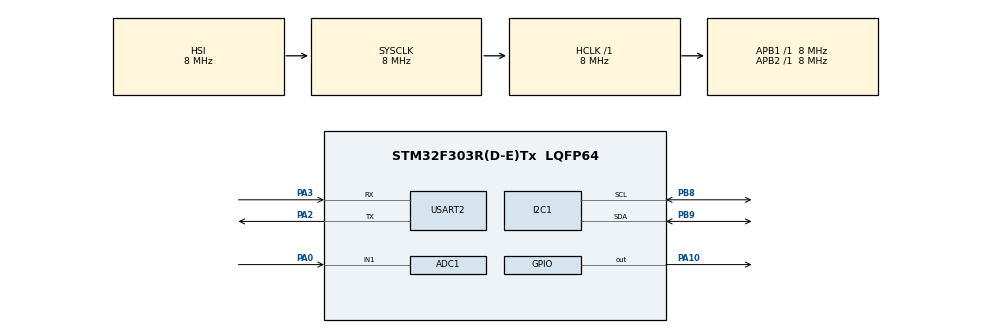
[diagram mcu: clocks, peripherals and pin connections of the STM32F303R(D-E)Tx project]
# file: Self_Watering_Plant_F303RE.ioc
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ADC1.Channel-0\#ChannelRegularConversion=ADC_CHANNEL_1
ADC1.NbrOfConversionFlag=1
ADC1.Offset-0\#ChannelRegularConversion=0
ADC1.OffsetNumber-0\#ChannelRegularConversion=ADC_OFFSET_NONE
ADC1.Rank-0\#ChannelRegularConversion=1
ADC1.SamplingTime-0\#ChannelRegularConversion=ADC_SAMPLETIME_1CYCLE_5
ADC1.SamplingTimeOPAMP-0\#ChannelRegularConversion=ADC_SAMPLETIME_7CYCLES_5
ADC1.master=1
Mcu.Family=STM32F3
Mcu.Name=STM32F303R(D-E)Tx
Mcu.Package=LQFP64
NVIC.PriorityGroup=NVIC_PRIORITYGROUP_4
PA0.Mode=IN1-Single-Ended
PA0.Signal=ADC1_IN1
PA10.Signal=GPIO_Output
PA2.Mode=Asynchronous
PA2.Signal=USART2_TX
PA3.Mode=Asynchronous
PA3.Signal=USART2_RX
PB8.Mode=I2C
PB8.Signal=I2C1_SCL
PB9.Mode=I2C
PB9.Signal=I2C1_SDA
ProjectManager.HeapSize=0x200
ProjectManager.StackSize=0x400
ProjectManager.TargetToolchain=STM32CubeIDE
RCC.AHBFreq_Value=8000000
RCC.APB1Freq_Value=8000000
RCC.APB2Freq_Value=8000000
RCC.CortexFreq_Value=8000000
RCC.HSE_VALUE=8000000
RCC.HSI_VALUE=8000000
RCC.LSE_VALUE=32768
RCC.SYSCLKFreq_VALUE=8000000
RCC.USBFreq_Value=16000000
USART2.VirtualMode-Asynchronous=VM_ASYNC
board=custom

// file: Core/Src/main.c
/* USER CODE BEGIN Header */
/**
  ******************************************************************************
  * @file           : main.c
  * @brief          : Main program body
  ******************************************************************************
  * @attention
  *
  * <h2><center>&copy; Copyright (c) 2020 STMicroelectronics.
  * All rights reserved.</center></h2>
  *
  * This software component is licensed by ST under BSD 3-Clause license,
  * the "License"; You may not use this file except in compliance with the
  * License. You may obtain a copy of the License at:
  *                        opensource.org/licenses/BSD-3-Clause
  *
  ******************************************************************************
  */
/* USER CODE END Header */
#include "main.h"

/* USER CODE BEGIN Includes */
#include <string.h>
#include <stdio.h>
#include <stdbool.h>
/* USER CODE END Includes */

ADC_HandleTypeDef hadc1;

I2C_HandleTypeDef hi2c1;

UART_HandleTypeDef huart2;

/* USER CODE BEGIN PV */
static const uint8_t TMP102_ADDR = 0x48 << 1;
static const uint8_t REG_TEMP = 0x00;
/* USER CODE END PV */

void SystemClock_Config(void);
static void MX_GPIO_Init(void);
static void MX_ADC1_Init(void);
static void MX_I2C1_Init(void);
static void MX_USART2_UART_Init(void);

int main(void)
{
  /* USER CODE BEGIN 1 */
	HAL_StatusTypeDef ret;
	uint8_t buf[12];
	int16_t val;
	float temp_c;
	uint16_t raw;
	char msg[10];
	bool watering = false;
	const int minDrynessVal = 200;
	const int maxDrynessVal = 700;

  /* USER CODE END 1 */

  /* MCU Configuration--------------------------------------------------------*/

  /* Reset of all peripherals, Initializes the Flash interface and the Systick. */
  HAL_Init();

  /* Configure the system clock */
  SystemClock_Config();

  /* Initialize all configured peripherals */
  MX_GPIO_Init();
  MX_ADC1_Init();
  MX_I2C1_Init();
  MX_USART2_UART_Init();

  /* Infinite loop */
  /* USER CODE BEGIN WHILE */
  while (1)
  {
	  buf[0] = REG_TEMP;
	  ret = HAL_I2C_Master_Transmit(&hi2c1, TMP102_ADDR, buf, 1, HAL_MAX_DELAY);
	  if ( ret != HAL_OK ) {
	       strcpy((char*)buf, "Error Tx\r\n");
	     } else {

	       // Read 2 bytes from the temperature register
	       ret = HAL_I2C_Master_Receive(&hi2c1, TMP102_ADDR, buf, 2, HAL_MAX_DELAY);
	       if ( ret != HAL_OK ) {
	         strcpy((char*)buf, "Error Rx\r\n");
	       } else {

	         //Combine the bytes
	         val = ((int16_t)buf[0] << 4) | (buf[1] >> 4);

	         // Convert to 2's complement, since temperature can be negative
	         if ( val > 0x7FF ) {
	           val |= 0xF000;
	         }

	         // Convert to float temperature value (Celsius)
	         temp_c = val * 0.0625;

	         // Convert temperature to decimal format
	         temp_c *= 100;
	         sprintf((char*)buf,
	               "%u.%u C\r\n",
	               ((unsigned int)temp_c / 100),
	               ((unsigned int)temp_c % 100));
	       }
	     }

	     // Send out buffer (temperature or error message)
	     HAL_UART_Transmit(&huart2, buf, strlen((char*)buf), HAL_MAX_DELAY);

	     //Get ADC Value
	     HAL_ADC_Start(&hadc1);
	     HAL_ADC_PollForConversion(&hadc1, HAL_MAX_DELAY);
	     raw = HAL_ADC_GetValue(&hadc1);

	     //Convert to string and print
	     sprintf(msg, "%hu\r\n", raw);
	     HAL_UART_Transmit(&huart2, (uint8_t*)msg, strlen(msg), HAL_MAX_DELAY);

	     if(!watering || raw < minDrynessVal) { //needs watering
	    	 HAL_GPIO_WritePin(GPIOA, GPIO_PIN_10, GPIO_PIN_SET);
	     }
	     else if(watering || raw > maxDrynessVal) { //done watering
	    	 HAL_GPIO_WritePin(GPIOA, GPIO_PIN_10, GPIO_PIN_RESET);
	     }

	     HAL_Delay(1000);

    /* USER CODE END WHILE */

  }
}

void SystemClock_Config(void)
{
  RCC_OscInitTypeDef RCC_OscInitStruct = {0};
  RCC_ClkInitTypeDef RCC_ClkInitStruct = {0};
  RCC_PeriphCLKInitTypeDef PeriphClkInit = {0};

  /** Initializes the RCC Oscillators according to the specified parameters
  * in the RCC_OscInitTypeDef structure.
  */
  RCC_OscInitStruct.OscillatorType = RCC_OSCILLATORTYPE_HSI;
  RCC_OscInitStruct.HSIState = RCC_HSI_ON;
  RCC_OscInitStruct.HSICalibrationValue = RCC_HSICALIBRATION_DEFAULT;
  RCC_OscInitStruct.PLL.PLLState = RCC_PLL_ON;
  RCC_OscInitStruct.PLL.PLLSource = RCC_PLLSOURCE_HSI;
  RCC_OscInitStruct.PLL.PLLMUL = RCC_PLL_MUL2;
  RCC_OscInitStruct.PLL.PREDIV = RCC_PREDIV_DIV1;
  if (HAL_RCC_OscConfig(&RCC_OscInitStruct) != HAL_OK)
  {
    Error_Handler();
  }
  /** Initializes the CPU, AHB and APB buses clocks
  */
  RCC_ClkInitStruct.ClockType = RCC_CLOCKTYPE_HCLK|RCC_CLOCKTYPE_SYSCLK
                              |RCC_CLOCKTYPE_PCLK1|RCC_CLOCKTYPE_PCLK2;
  RCC_ClkInitStruct.SYSCLKSource = RCC_SYSCLKSOURCE_HSI;
  RCC_ClkInitStruct.AHBCLKDivider = RCC_SYSCLK_DIV1;
  RCC_ClkInitStruct.APB1CLKDivider = RCC_HCLK_DIV1;
  RCC_ClkInitStruct.APB2CLKDivider = RCC_HCLK_DIV1;

  if (HAL_RCC_ClockConfig(&RCC_ClkInitStruct, FLASH_LATENCY_0) != HAL_OK)
  {
    Error_Handler();
  }
  PeriphClkInit.PeriphClockSelection = RCC_PERIPHCLK_USART2|RCC_PERIPHCLK_I2C1
                              |RCC_PERIPHCLK_ADC12;
  PeriphClkInit.Usart2ClockSelection = RCC_USART2CLKSOURCE_PCLK1;
  PeriphClkInit.Adc12ClockSelection = RCC_ADC12PLLCLK_DIV1;
  PeriphClkInit.I2c1ClockSelection = RCC_I2C1CLKSOURCE_HSI;
  if (HAL_RCCEx_PeriphCLKConfig(&PeriphClkInit) != HAL_OK)
  {
    Error_Handler();
  }
}

static void MX_ADC1_Init(void)
{

  ADC_MultiModeTypeDef multimode = {0};
  ADC_ChannelConfTypeDef sConfig = {0};

  /** Common config
  */
  hadc1.Instance = ADC1;
  hadc1.Init.ClockPrescaler = ADC_CLOCK_ASYNC_DIV1;
  hadc1.Init.Resolution = ADC_RESOLUTION_12B;
  hadc1.Init.ScanConvMode = ADC_SCAN_DISABLE;
  hadc1.Init.ContinuousConvMode = DISABLE;
  hadc1.Init.DiscontinuousConvMode = DISABLE;
  hadc1.Init.ExternalTrigConvEdge = ADC_EXTERNALTRIGCONVEDGE_NONE;
  hadc1.Init.ExternalTrigConv = ADC_SOFTWARE_START;
  hadc1.Init.DataAlign = ADC_DATAALIGN_RIGHT;
  hadc1.Init.NbrOfConversion = 1;
  hadc1.Init.DMAContinuousRequests = DISABLE;
  hadc1.Init.EOCSelection = ADC_EOC_SINGLE_CONV;
  hadc1.Init.LowPowerAutoWait = DISABLE;
  hadc1.Init.Overrun = ADC_OVR_DATA_OVERWRITTEN;
  if (HAL_ADC_Init(&hadc1) != HAL_OK)
  {
    Error_Handler();
  }
  /** Configure the ADC multi-mode
  */
  multimode.Mode = ADC_MODE_INDEPENDENT;
  if (HAL_ADCEx_MultiModeConfigChannel(&hadc1, &multimode) != HAL_OK)
  {
    Error_Handler();
  }
  /** Configure Regular Channel
  */
  sConfig.Channel = ADC_CHANNEL_1;
  sConfig.Rank = ADC_REGULAR_RANK_1;
  sConfig.SingleDiff = ADC_SINGLE_ENDED;
  sConfig.SamplingTime = ADC_SAMPLETIME_1CYCLE_5;
  sConfig.OffsetNumber = ADC_OFFSET_NONE;
  sConfig.Offset = 0;
  if (HAL_ADC_ConfigChannel(&hadc1, &sConfig) != HAL_OK)
  {
    Error_Handler();
  }

}

static void MX_I2C1_Init(void)
{

  hi2c1.Instance = I2C1;
  hi2c1.Init.Timing = 0x2000090E;
  hi2c1.Init.OwnAddress1 = 0;
  hi2c1.Init.AddressingMode = I2C_ADDRESSINGMODE_7BIT;
  hi2c1.Init.DualAddressMode = I2C_DUALADDRESS_DISABLE;
  hi2c1.Init.OwnAddress2 = 0;
  hi2c1.Init.OwnAddress2Masks = I2C_OA2_NOMASK;
  hi2c1.Init.GeneralCallMode = I2C_GENERALCALL_DISABLE;
  hi2c1.Init.NoStretchMode = I2C_NOSTRETCH_DISABLE;
  if (HAL_I2C_Init(&hi2c1) != HAL_OK)
  {
    Error_Handler();
  }
  /** Configure Analogue filter
  */
  if (HAL_I2CEx_ConfigAnalogFilter(&hi2c1, I2C_ANALOGFILTER_ENABLE) != HAL_OK)
  {
    Error_Handler();
  }
  /** Configure Digital filter
  */
  if (HAL_I2CEx_ConfigDigitalFilter(&hi2c1, 0) != HAL_OK)
  {
    Error_Handler();
  }

}

static void MX_USART2_UART_Init(void)
{

  huart2.Instance = USART2;
  huart2.Init.BaudRate = 38400;
  huart2.Init.WordLength = UART_WORDLENGTH_8B;
  huart2.Init.StopBits = UART_STOPBITS_1;
  huart2.Init.Parity = UART_PARITY_NONE;
  huart2.Init.Mode = UART_MODE_TX_RX;
  huart2.Init.HwFlowCtl = UART_HWCONTROL_NONE;
  huart2.Init.OverSampling = UART_OVERSAMPLING_16;
  huart2.Init.OneBitSampling = UART_ONE_BIT_SAMPLE_DISABLE;
  huart2.AdvancedInit.AdvFeatureInit = UART_ADVFEATURE_NO_INIT;
  if (HAL_UART_Init(&huart2) != HAL_OK)
  {
    Error_Handler();
  }

}

static void MX_GPIO_Init(void)
{
  GPIO_InitTypeDef GPIO_InitStruct = {0};

  /* GPIO Ports Clock Enable */
  __HAL_RCC_GPIOA_CLK_ENABLE();
  __HAL_RCC_GPIOB_CLK_ENABLE();

  /*Configure GPIO pin Output Level */
  HAL_GPIO_WritePin(GPIOA, GPIO_PIN_10, GPIO_PIN_RESET);

  /*Configure GPIO pin : PA10 */
  GPIO_InitStruct.Pin = GPIO_PIN_10;
  GPIO_InitStruct.Mode = GPIO_MODE_OUTPUT_PP;
  GPIO_InitStruct.Pull = GPIO_NOPULL;
  GPIO_InitStruct.Speed = GPIO_SPEED_FREQ_LOW;
  HAL_GPIO_Init(GPIOA, &GPIO_InitStruct);

}

void Error_Handler(void)
{
}

/************************ (C) COPYRIGHT STMicroelectronics *****END OF FILE****/
